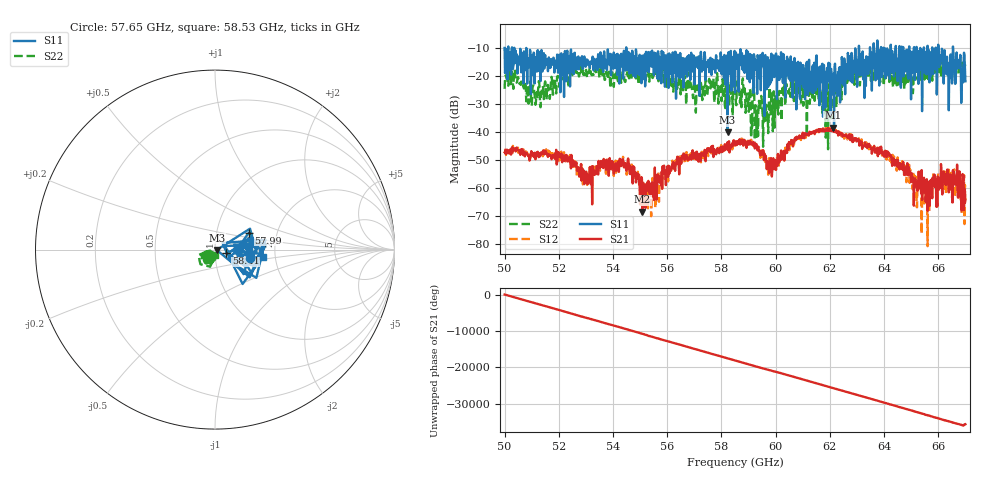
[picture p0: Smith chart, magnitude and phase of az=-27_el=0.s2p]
!Created with skrf (http://scikit-rf.org).
# GHz S RI R 50.0
!freq ReS11 ImS11 ReS21 ImS21 ReS12 ImS12 ReS22 ImS22
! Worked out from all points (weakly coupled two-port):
!   1001 points, 50 GHz to 67 GHz, reference 50 ohm
!   highest |S21| = -38.36 dB at 62.1 GHz (marker M1); lowest = -68.5 dB at 55.08 GHz (marker M2)
!   lowest |S11| = -40.0 dB at 58.23 GHz (marker M3), VSWR 1.02, Z = 51 - j0.207 ohm
!   |S11| at or under -10 dB: 50.8 GHz to 54.49 GHz (3.685 GHz wide, 7 % of centre); 54.49 GHz to 62.94 GHz (8.447 GHz wide, 14.4 % of centre); 66.01 GHz to 66.54 GHz (528.9 MHz wide, 0.798 % of centre) (the widest 3 of 30)
!   |S22| runs from -46.1 to -13.9 dB; largest |S21 - S12| = 0.0025
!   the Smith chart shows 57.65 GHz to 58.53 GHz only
!   S11 on the Smith chart (normalised r, x): 57.65 GHz: 1.48, -0.15; 57.99 GHz: 1.43, +0.28; 58.41 GHz: 1.14, -0.05; 58.53 GHz: 1.72, -0.15
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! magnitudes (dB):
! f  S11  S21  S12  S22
! 50 GHz  -9.8  -47.2  -46.4  -24.4
! 51.07 GHz  -11.5  -48.1  -48.7  -24.3
! 52.84 GHz  -13.4  -57.4  -56.7  -19.1
! 54.34 GHz  -16.5  -51.5  -51.4  -19.7
! 55.08 GHz  -12.6  -68.5  -64.2  -20.0
! 55.68 GHz  -13.5  -55.9  -54.3  -21.7
! 57.65 GHz  -13.9  -46.8  -46.9  -23.6
! 57.99 GHz  -13.5  -45.3  -44.5  -28.4
! 58.23 GHz  -40.0  -43.5  -44.6  -22.8
! 58.41 GHz  -23.5  -43.7  -45.5  -34.3
! 58.5 GHz  -25.7  -43.3  -44.8  -24.3
! 58.53 GHz  -11.4  -44.3  -44.0  -29.9
! 59.32 GHz  -26.3  -45.8  -45.7  -32.3
! 59.93 GHz  -12.5  -50.3  -49.9  -25.3
! 60.64 GHz  -14.8  -45.1  -44.1  -22.3
! 61.34 GHz  -25.8  -40.2  -40.2  -25.3
! 62.1 GHz  -20.6  -38.4  -40.0  -20.5
! 64.18 GHz  -17.9  -47.4  -47.8  -18.7
! 65.47 GHz  -9.6  -56.3  -59.7  -18.7
! 66.06 GHz  -15.7  -57.1  -57.9  -14.7
! 66.41 GHz  -15.1  -57.1  -56.4  -15.9
! 67 GHz  -21.7  -64.1  -64.9  -15.7
